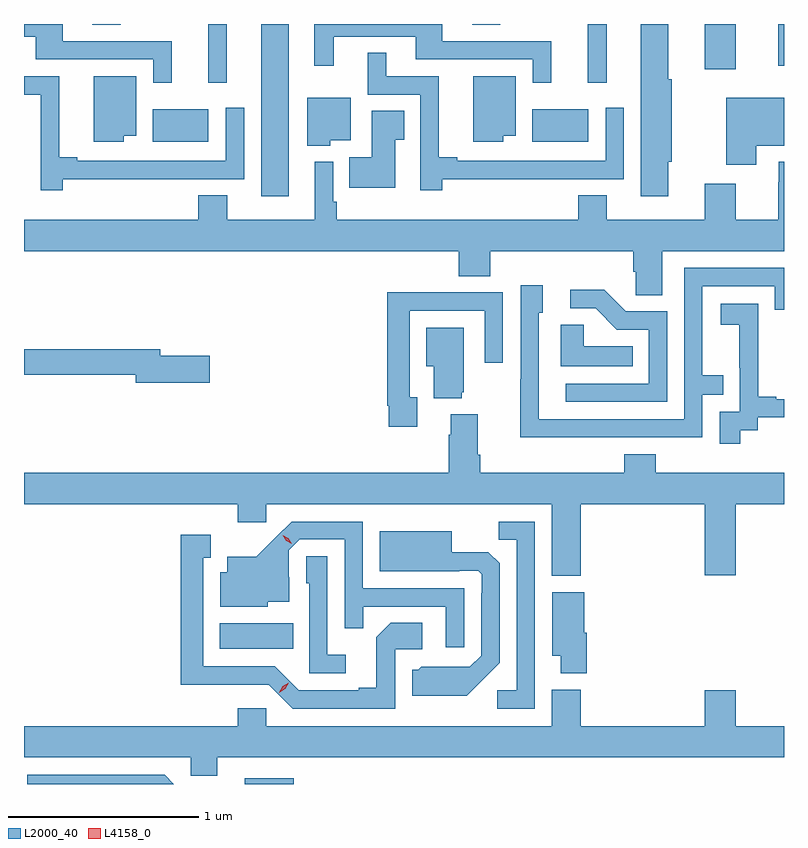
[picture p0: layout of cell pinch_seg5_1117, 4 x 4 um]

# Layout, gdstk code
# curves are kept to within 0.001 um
import gdstk
lib = gdstk.Library(unit=1e-6, precision=1e-09)
def R(c, l, rs):  # rectangles x0, y0, x1, y1
    for r in rs: c.add(gdstk.rectangle(r[:2], r[2:], *l))
def P(c, l, *ps):  # polygons
    for p in ps: c.add(gdstk.Polygon(p, *l))
L2000_40 = (2000, 40)
L4158_0 = (4158, 0)

pinch_seg5_1117 = lib.new_cell('pinch_seg5_1117')
R(pinch_seg5_1117, L2000_40, [(773.976,840.635,774.233,840.666), (773.843,841.346,774.23,841.48), (774.062,843.729,774.208,844.635), (773.492,844.016,773.785,844.186), (775.49,844.016,775.783,844.186), (773.783,844.326,773.882,844.635), (775.781,844.326,775.88,844.635), (776.396,844.398,776.56,844.635), (776.783,844.416,776.814,844.635), (773.174,844.63,773.322,844.635), (775.172,844.63,775.32,844.635)])
P(pinch_seg5_1117, L2000_40, [(775.589,844.545),(775.015,844.545),(775.015,844.635),(774.341,844.635),(774.341,844.416),(774.445,844.416),(774.445,844.568),(774.875,844.568),(774.875,844.449),(775.491,844.449),(775.491,844.326),(775.589,844.326)],
  [(773.591,844.545),(773.017,844.545),(773.017,844.635),(772.814,844.635),(772.814,844.568),(772.877,844.568),(772.877,844.449),(773.493,844.449),(773.493,844.326),(773.591,844.326)],
  [(776.206,843.909),(776.224,843.909),(776.224,844.345),(776.206,844.345),(776.206,844.635),(776.06,844.635),(776.06,843.729),(776.206,843.729)],
  [(775.016,843.818),(775.646,843.818),(775.646,843.819),(775.971,843.819),(775.971,844.195),(775.875,844.195),(775.875,843.915),(775.093,843.915),(775.093,843.935),(774.998,843.935),(774.998,844.359),(774.721,844.359),(774.721,844.483),(774.623,844.483),(774.623,844.263),(774.9,844.263),(774.9,843.759),(775.016,843.759)],
  [(775.336,844.046),(775.402,844.046),(775.402,844.36),(775.178,844.36),(775.178,844.016),(775.336,844.016)],
  [(773.338,844.046),(773.404,844.046),(773.404,844.36),(773.18,844.36),(773.18,844.016),(773.338,844.016)],
  [(773.018,843.818),(773.648,843.818),(773.648,843.819),(773.973,843.819),(773.973,844.195),(773.877,844.195),(773.877,843.915),(773.095,843.915),(773.095,843.935),(773,843.935),(773,844.359),(772.814,844.359),(772.814,844.263),(772.902,844.263),(772.902,843.759),(773.018,843.759)],
  [(774.426,844.022),(774.535,844.022),(774.535,844.246),(774.305,844.246),(774.305,843.995),(774.426,843.995)],
  [(776.668,843.995),(776.814,843.995),(776.814,844.246),(776.51,844.246),(776.51,843.894),(776.668,843.894)],
  [(774.769,844.027),(774.815,844.027),(774.815,844.178),(774.644,844.178),(774.644,843.934),(774.526,843.934),(774.526,843.773),(774.769,843.773)],
  [(774.461,843.7),(774.441,843.7),(774.441,843.91),(774.344,843.91),(774.344,843.604),(773.884,843.604),(773.884,843.734),(773.732,843.734),(773.732,843.604),(772.814,843.604),(772.814,843.44),(775.103,843.44),(775.103,843.307),(775.268,843.307),(775.268,843.44),(776.021,843.44),(776.021,843.331),(776.034,843.331),(776.034,843.208),(776.173,843.208),(776.173,843.44),(776.814,843.44),(776.814,843.91),(776.787,843.91),(776.787,843.803),(776.785,843.803),(776.785,843.604),(776.56,843.604),(776.56,843.793),(776.396,843.793),(776.396,843.604),(775.882,843.604),(775.882,843.734),(775.73,843.734),(775.73,843.604),(774.461,843.604)],
  [(775.889,842.46),(776.385,842.46),(776.385,842.685),(776.495,842.685),(776.495,842.786),(776.385,842.786),(776.385,843.255),(776.766,843.255),(776.766,843.132),(776.814,843.132),(776.814,843.351),(776.289,843.351),(776.289,842.556),(775.524,842.556),(775.524,843.114),(775.543,843.114),(775.543,843.259),(775.428,843.259),(775.428,842.765),(775.426,842.765),(775.426,842.459),(775.889,842.459)],
  [(776.199,843.123),(775.98,843.123),(775.867,843.236),(775.689,843.236),(775.689,843.138),(775.823,843.138),(775.934,843.027),(776.103,843.027),(776.103,842.742),(775.665,842.742),(775.665,842.646),(776.199,842.646)],
  [(774.883,842.67),(774.843,842.67),(774.843,843.126),(775.239,843.126),(775.239,842.853),(775.335,842.853),(775.335,843.222),(775.019,843.222),(775.019,843.224),(774.727,843.224),(774.727,842.626),(774.735,842.626),(774.735,842.514),(774.883,842.514)],
  [(776.584,842.497),(776.676,842.497),(776.676,842.565),(776.814,842.565),(776.814,842.661),(776.773,842.661),(776.773,842.674),(776.678,842.674),(776.678,842.957),(776.679,842.957),(776.679,843.163),(776.481,843.163),(776.481,843.053),(776.579,843.053),(776.579,842.825),(776.58,842.825),(776.58,842.595),(776.475,842.595),(776.475,842.427),(776.584,842.427)],
  [(776.018,842.938),(775.761,842.938),(775.761,843.053),(775.64,843.053),(775.64,842.834),(776.018,842.834)],
  [(775.118,842.697),(775.129,842.697),(775.129,843.037),(774.932,843.037),(774.932,842.834),(774.971,842.834),(774.971,842.666),(775.118,842.666)],
  [(773.791,842.888),(773.53,842.888),(773.53,842.924),(772.814,842.924),(772.814,842.788),(773.402,842.788),(773.402,842.746),(773.791,842.746)],
  [(775.745,842.108),(776.396,842.108),(776.396,841.734),(776.56,841.734),(776.56,842.108),(776.814,842.108),(776.814,842.272),(776.138,842.272),(776.138,842.371),(775.973,842.371),(775.973,842.272),(775.214,842.272),(775.214,842.368),(775.201,842.368),(775.201,842.581),(775.061,842.581),(775.061,842.474),(775.049,842.474),(775.049,842.272),(772.814,842.272),(772.814,842.108),(773.939,842.108),(773.939,842.013),(774.09,842.013),(774.09,842.108),(775.592,842.108),(775.592,841.73),(775.745,841.73)],
  [(775.503,842.016),(775.312,842.016),(775.312,841.921),(775.407,841.921),(775.407,841.128),(775.305,841.128),(775.305,841.032),(775.503,841.032)],
  [(775.131,841.665),(774.597,841.665),(774.597,842.016),(774.224,842.016),(774.037,841.831),(773.885,841.831),(773.885,841.75),(773.846,841.75),(773.846,841.568),(774.096,841.568),(774.096,841.595),(774.211,841.595),(774.211,841.724),(774.207,841.724),(774.207,841.866),(774.264,841.923),(774.501,841.923),(774.501,841.456),(774.599,841.456),(774.599,841.569),(775.035,841.569),(775.035,841.356),(775.131,841.356)],
  [(775.225,841.181),(775.317,841.274),(775.317,841.796),(775.258,841.855),(775.066,841.855),(775.066,841.966),(774.686,841.966),(774.686,841.754),(775.106,841.754),(775.106,841.758),(775.206,841.758),(775.224,841.74),(775.224,841.64),(775.221,841.64),(775.221,841.311),(775.161,841.251),(774.904,841.252),(774.888,841.236),(774.857,841.236),(774.857,841.1),(775.145,841.1)],
  [(774.768,841.344),(774.91,841.344),(774.91,841.484),(774.745,841.484),(774.669,841.408),(774.669,841.141),(774.575,841.141),(774.575,841.128),(774.261,841.128),(774.135,841.254),(773.758,841.254),(773.758,841.827),(773.797,841.827),(773.797,841.948),(773.64,841.948),(773.64,841.157),(774.102,841.158),(774.228,841.032),(774.768,841.032)],
  [(774.508,841.315),(774.411,841.315),(774.411,841.835),(774.3,841.835),(774.3,841.692),(774.315,841.692),(774.315,841.218),(774.508,841.218)],
  [(775.775,841.431),(775.762,841.431),(775.762,841.645),(775.595,841.645),(775.595,841.31),(775.64,841.31),(775.64,841.217),(775.775,841.217)],
  [(773.83,840.776),(776.814,840.776),(776.814,840.94),(776.56,840.94),(776.56,841.129),(776.396,841.129),(776.396,840.94),(775.745,840.94),(775.745,841.132),(775.592,841.132),(775.592,840.94),(774.09,840.94),(774.09,841.033),(773.939,841.033),(773.939,840.94),(772.814,840.94),(772.814,840.776),(773.691,840.776),(773.691,840.678),(773.83,840.678)],
  [(773.554,840.684),(772.83,840.684),(772.83,840.635),(773.603,840.635)])
P(pinch_seg5_1117, L4158_0, [(774.224,841.9),(774.193,841.914),(774.175,841.944),(774.175,841.944),(774.176,841.944),(774.206,841.929),(774.224,841.9),(774.224,841.9)],
  [(774.158,841.116),(774.158,841.117),(774.175,841.149),(774.207,841.169),(774.207,841.169),(774.207,841.168),(774.19,841.136),(774.158,841.116)])

lib.write_gds('pinch_seg5_1117.gds')
